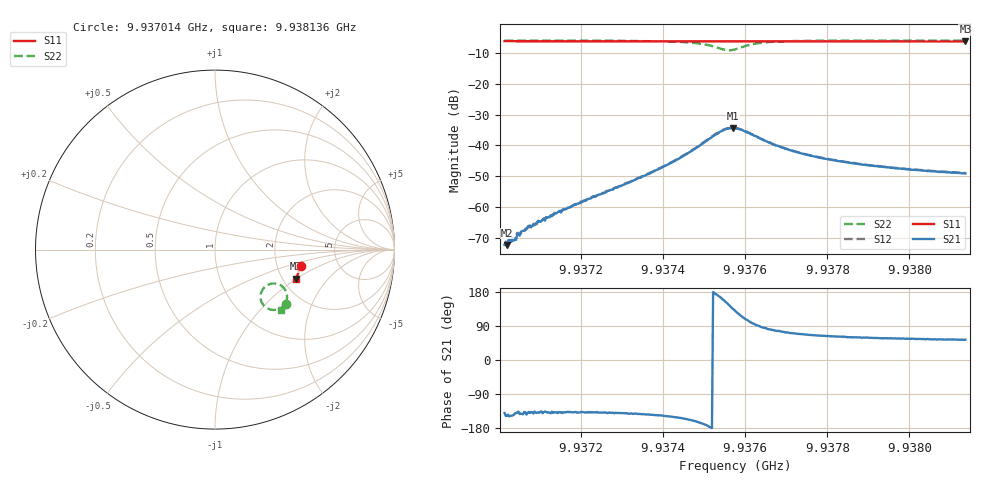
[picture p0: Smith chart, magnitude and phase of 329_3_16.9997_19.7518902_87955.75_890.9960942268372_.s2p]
#  HZ  S  RI  R  50.00
! Rohde & Schwarz Vector Network Analyzer
! Rohde-Schwarz,ZNB20-2Port,1311601062101988,3.16
! Created: UTC 3/20/2024, 11:06:51 PM
! freq[Hz]  re:S11  im:S11  re:S21  im:S21  re:S12  im:S12  re:S22  im:S22
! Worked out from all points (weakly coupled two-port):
!   401 points, 9.937014 GHz to 9.938136 GHz, reference 50 ohm
!   highest |S21| = -34.40 dB at 9.93757 GHz (marker M1); lowest = -72.2 dB at 9.93702 GHz (marker M2)
!   lowest |S11| = -6.4 dB at 9.938136 GHz (marker M3), VSWR 2.85, Z = 118 - j49.6 ohm
!   |S11| at or under -10 dB: nowhere
!   |S22| runs from -9.2 to -6.0 dB; largest |S21 - S12| = 0.00089
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9.9370143e9  0.4764 -0.089  -0.00019 -0.000161  -0.000201 -0.00012  0.3979 -0.3005
9.9370199e9  0.4763 -0.0893  -0.000207 -0.000131  -0.000191 -0.000154  0.3976 -0.3008
9.9370283e9  0.4762 -0.09  -0.00025 -0.000158  -0.00024 -0.00013  0.3972 -0.3016
9.9370367e9  0.4761 -0.0905  -0.000235 -0.000167  -0.00025 -0.000191  0.3965 -0.3021
9.9370508e9  0.4757 -0.0916  -0.000275 -0.000211  -0.000289 -0.000222  0.3956 -0.3032
9.9370676e9  0.4754 -0.0926  -0.00036 -0.000261  -0.000321 -0.000304  0.3944 -0.3044
9.9371405e9  0.4741 -0.0976  -0.00059 -0.000535  -0.000597 -0.00056  0.3888 -0.3096
9.9372022e9  0.473 -0.1018  -0.000888 -0.000837  -0.000923 -0.00079  0.3831 -0.3146
9.9373901e9  0.4689 -0.1146  -0.00347 -0.00234  -0.00357 -0.00233  0.3521 -0.3323
9.9374406e9  0.4677 -0.118  -0.00552 -0.00287  -0.00568 -0.00283  0.332 -0.3363
9.9375023e9  0.4657 -0.1221  -0.0113 -0.00189  -0.0115 -0.0017  0.2847 -0.3228
9.9375416e9  0.4642 -0.1241  -0.0163 0.00472  -0.0165 0.00551  0.2533 -0.2627
9.9375556e9  0.4638 -0.1243  -0.0162 0.00909  -0.016 0.00996  0.262 -0.2283
9.9375696e9  0.4636 -0.1248  -0.0136 0.0133  -0.0136 0.0139  0.2871 -0.2003
9.9375752e9  0.4639 -0.125  -0.0122 0.0145  -0.0118 0.0151  0.3003 -0.1937
9.9375976e9  0.4639 -0.126  -0.00585 0.0161  -0.00542 0.0165  0.3518 -0.1926
9.9376341e9  0.464 -0.1287  0.000123 0.0132  0.000491 0.0132  0.3925 -0.2273
9.937693e9  0.463 -0.133  0.00256 0.00881  0.00268 0.00876  0.4017 -0.2685
9.9377631e9  0.4614 -0.1377  0.00277 0.00617  0.00292 0.00614  0.3962 -0.2925
9.9378557e9  0.4591 -0.1439  0.00263 0.00454  0.00267 0.00452  0.3878 -0.3093
9.937951e9  0.4568 -0.1502  0.00237 0.00368  0.0025 0.00368  0.3802 -0.3202
9.9381361e9  0.452 -0.1621  0.00208 0.00284  0.00218 0.00288  0.3676 -0.3351
